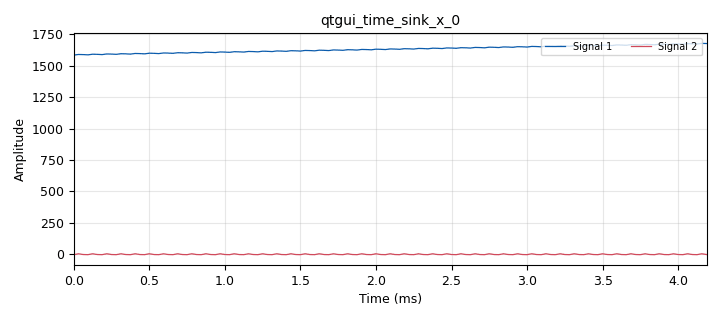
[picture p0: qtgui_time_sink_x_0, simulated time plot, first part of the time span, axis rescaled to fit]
options:
  parameters:
    generate_options: qt_gui
    id: Acumulador
    output_language: python
    title: Not titled yet
  states: {}

blocks:
- name: samp_rate
  id: variable
  parameters:
    value: '32000'
  states: {}
- name: blocks_throttle_0
  id: blocks_throttle
  parameters:
    samples_per_second: samp_rate
    type: float
  states: {}
- name: blocks_vector_source_x_0
  id: blocks_vector_source_x
  parameters:
    repeat: 'True'
    type: float
    vector: (-1,- 2, 5)
  states: {}
- name: epy_block_0
  id: epy_block
  parameters:
    _source_code: |
      """
      Embedded Python Blocks:

      Each time this file is saved, GRC will instantiate the first class it finds
      to get ports and parameters of your block. The arguments to __init__  will
      be the parameters. All of them are required to have default values!
      """

      import numpy as np
      from gnuradio import gr


      class blk (gr. sync_block ):
          def __init__ ( self) : # only default arguments here
              gr. sync_block . __init__ (
                  self ,
                  name ='Acumulador ', # will show up in GRC
                  in_sig =[ np. float32 ],
                  out_sig =[ np. float32 ]
              )
          def work(self, input_items, output_items):
              """example: multiply with constant"""
              output_items[0][:] = np.cumsum(input_items[0])
              return len(output_items[0])
  states: {}
- name: qtgui_time_sink_x_0
  id: qtgui_time_sink_x
  parameters:
    nconnections: '2'
    size: '1024'
    srate: samp_rate
    type: float
  states: {}

connections:
- [blocks_throttle_0, '0', epy_block_0, '0']
- [blocks_throttle_0, '0', qtgui_time_sink_x_0, '1']
- [blocks_vector_source_x_0, '0', blocks_throttle_0, '0']
- [epy_block_0, '0', qtgui_time_sink_x_0, '0']

metadata:
  file_format: 1
  grc_version: 3.10.5.1
